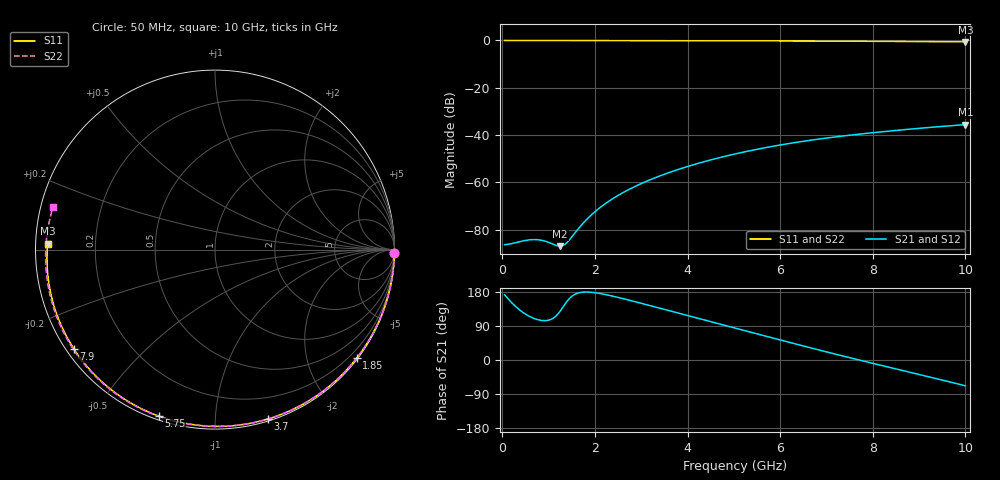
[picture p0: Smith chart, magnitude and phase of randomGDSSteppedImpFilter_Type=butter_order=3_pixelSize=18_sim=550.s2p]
! freq	dB(S11)	phase(S11)	dB(S12)	phase(S12)
!  dB(S21)	phase(S21)	dB(S22)	phase(S22)
!S-par simulation data
#  GHz  S  DB  R 50
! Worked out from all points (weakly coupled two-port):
!   200 points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, 50 MHz to 10 GHz, reference 50 ohm
!   highest |S21| = -35.57 dB at 10 GHz (marker M1); lowest = -86.9 dB at 1.25 GHz (marker M2)
!   lowest |S11| = -0.6 dB at 10 GHz (marker M3), VSWR 29.00, Z = 1.72 + j0.874 ohm
!   |S11| at or under -10 dB: nowhere
!   |S22| runs from -0.6 to 0.0 dB; largest |S21 - S12| = 0
!   S11 on the Smith chart (normalised r, x): 50 MHz: open; 1.85 GHz: 0.03, -2.95; 3.7 GHz: 0.02, -1.36; 5.75 GHz: 0.02, -0.72; 7.9 GHz: 0.02, -0.32; 10 GHz: 0.03, +0.02
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0.05  -0.00 -1.0  -86.30 171.8  -86.30 171.8  -0.00 -1.1
0.65  -0.01 -13.4  -84.15 111.5  -84.15 111.5  -0.02 -14.5
1.25  -0.03 -25.5  -86.92 129.0  -86.92 129.0  -0.03 -27.7
1.6  -0.04 -32.5  -80.57 175.1  -80.57 175.1  -0.04 -35.2
1.65  -0.04 -33.5  -79.36 177.1  -79.36 177.1  -0.05 -36.3
1.75  -0.05 -35.5  -77.11 179.2  -77.11 179.2  -0.05 -38.5
1.85  -0.05 -37.5  -75.08 179.4  -75.08 179.4  -0.05 -40.6
2.15  -0.06 -43.4  -70.02 174.6  -70.02 174.6  -0.06 -46.9
2.5  -0.06 -50.2  -65.48 165.2  -65.48 165.2  -0.07 -54.2
2.9  -0.07 -57.8  -61.37 152.8  -61.37 152.8  -0.08 -62.4
3.4  -0.09 -67.2  -57.25 136.8  -57.25 136.8  -0.10 -72.5
3.7  -0.10 -72.7  -55.15 127.1  -55.15 127.1  -0.11 -78.4
4.35  -0.12 -84.4  -51.26 106.2  -51.26 106.2  -0.13 -90.9
5.05  -0.15 -96.7  -47.85 83.5  -47.85 83.5  -0.16 -103.9
5.75  -0.18 -108.7  -45.04 60.9  -45.04 60.9  -0.20 -116.6
6.7  -0.25 -124.7  -42.03 30.8  -42.03 30.8  -0.26 -133.5
7.3  -0.29 -134.7  -40.50 12.2  -40.50 12.2  -0.31 -144.1
7.9  -0.35 -144.8  -39.18 -5.9  -39.18 -5.9  -0.36 -154.8
8.35  -0.39 -152.5  -38.29 -19.1  -38.29 -19.1  -0.41 -163.0
9.2  -0.49 -167.3  -36.79 -44.0  -36.79 -44.0  -0.50 -178.8
9.6  -0.54 -174.5  -36.15 -55.9  -36.15 -55.9  -0.55 173.4
10  -0.60 178.0  -35.57 -68.1  -35.57 -68.1  -0.60 165.4
